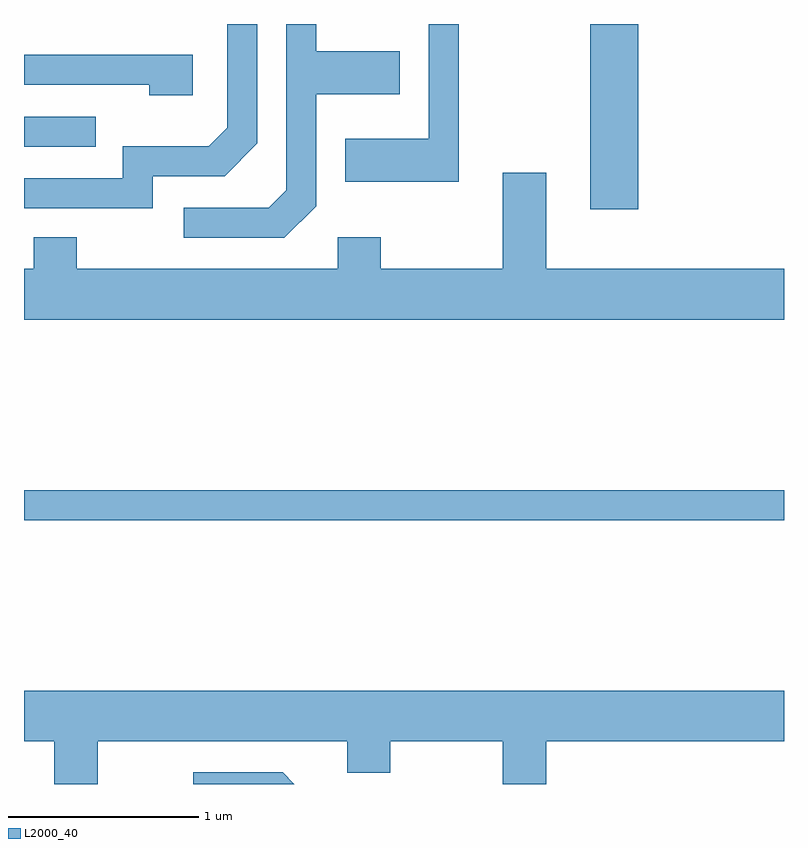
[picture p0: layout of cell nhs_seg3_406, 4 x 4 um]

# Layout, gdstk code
import gdstk
lib = gdstk.Library(unit=1e-6, precision=1e-09)
def R(c, l, rs):  # rectangles x0, y0, x1, y1
    for r in rs: c.add(gdstk.rectangle(r[:2], r[2:], *l))
def P(c, l, *ps):  # polygons
    for p in ps: c.add(gdstk.Polygon(p, *l))
L2000_40 = (2000, 40)

nhs_seg3_406 = lib.new_cell('nhs_seg3_406')
R(nhs_seg3_406, L2000_40, [(195.611,1249.281,199.611,1249.439), (198.591,1250.916,198.844,1251.892), (195.611,1251.246,195.988,1251.404)])
P(nhs_seg3_406, L2000_40, [(197.149,1250.934),(197.149,1251.521),(197.589,1251.521),(197.589,1251.749),(197.149,1251.749),(197.149,1251.892),(196.991,1251.892),(196.991,1251.017),(196.899,1250.924),(196.453,1250.924),(196.453,1250.766),(196.982,1250.766)],
  [(197.899,1251.892),(197.741,1251.892),(197.741,1251.289),(197.301,1251.289),(197.301,1251.061),(197.899,1251.061)],
  [(196.289,1251.091),(196.667,1251.091),(196.839,1251.264),(196.839,1251.892),(196.681,1251.892),(196.681,1251.347),(196.584,1251.249),(196.131,1251.249),(196.131,1251.079),(195.611,1251.079),(195.611,1250.921),(196.289,1250.921)],
  [(196.499,1251.729),(195.611,1251.729),(195.611,1251.571),(196.271,1251.571),(196.271,1251.516),(196.499,1251.516)],
  [(199.611,1250.604),(198.359,1250.604),(198.359,1251.109),(198.131,1251.109),(198.131,1250.604),(197.489,1250.604),(197.489,1250.769),(197.261,1250.769),(197.261,1250.604),(195.889,1250.604),(195.889,1250.769),(195.661,1250.769),(195.661,1250.604),(195.611,1250.604),(195.611,1250.336),(199.611,1250.336)],
  [(195.999,1248.116),(197.311,1248.116),(197.311,1247.951),(197.539,1247.951),(197.539,1248.116),(198.131,1248.116),(198.131,1247.892),(198.359,1247.892),(198.359,1248.116),(199.611,1248.116),(199.611,1248.384),(195.611,1248.384),(195.611,1248.116),(195.771,1248.116),(195.771,1247.892),(195.999,1247.892)],
  [(196.972,1247.954),(196.503,1247.954),(196.503,1247.892),(197.034,1247.892)])

lib.write_gds('nhs_seg3_406.gds')
